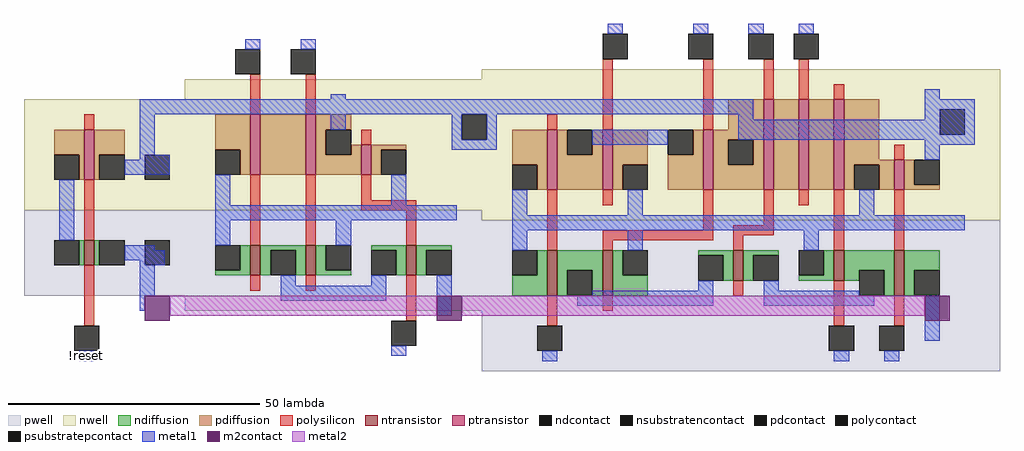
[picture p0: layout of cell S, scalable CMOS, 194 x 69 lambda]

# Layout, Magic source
magic
tech scmos
<< nwell >>
rect -10 48 -6 51
rect -10 40 -7 48
rect 52 41 61 50
rect 147 42 156 51
rect -10 36 -4 40
<< pwell >>
rect -8 13 -5 21
<< nsubstratencontact >>
rect 54 43 59 48
<< polysilicon >>
rect -21 6 -19 16
<< polycontact >>
rect -23 1 -18 6
<< metal1 >>
rect -10 48 112 51
rect -10 40 -7 48
rect 52 43 54 48
rect 59 43 61 48
rect 109 44 112 48
rect 52 41 61 43
rect 147 42 156 51
rect -10 36 -4 40
rect -10 21 -7 22
rect -10 18 -5 21
rect -10 12 -7 18
rect -10 9 -9 12
rect -22 -1 -19 1
<< m2contact >>
rect -9 7 -4 12
rect 49 7 54 12
rect 146 7 151 12
<< metal2 >>
rect -4 8 49 12
rect 54 8 146 12
use inv  inv_0
transform -1 0 -13 0 1 35
box -12 -23 20 16
use S1  S1_0
transform 1 0 5 0 1 16
box -6 -16 53 47
use S2  S2_0
transform 1 0 108 0 1 32
box -50 -35 53 34
<< labels >>
rlabel metal1 -22 -1 -19 1 5 !reset
<< end >>

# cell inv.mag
magic
tech scmos
<< nwell >>
rect -12 -6 20 16
<< pwell >>
rect -12 -23 20 -6
<< ntransistor >>
rect 6 -17 8 -12
<< ptransistor >>
rect 6 0 8 10
<< ndiffusion >>
rect 5 -17 6 -12
rect 8 -17 9 -12
<< pdiffusion >>
rect 0 5 6 10
rect 5 0 6 5
rect 8 5 14 10
rect 8 0 9 5
<< ndcontact >>
rect 0 -17 5 -12
rect 9 -17 14 -12
<< pdcontact >>
rect 0 0 5 5
rect 9 0 14 5
<< psubstratepcontact >>
rect -9 -17 -4 -12
<< nsubstratencontact >>
rect -9 0 -4 5
<< polysilicon >>
rect 6 10 8 13
rect 6 -12 8 0
rect 6 -20 8 -17
<< metal1 >>
rect -4 1 0 4
rect 10 -12 13 0
rect -4 -16 0 -13
<< labels >>
rlabel metal1 -3 2 -2 3 1 Vdd!
rlabel metal1 -3 -15 -2 -14 1 GND!
<< end >>

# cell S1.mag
magic
tech scmos
<< nwell >>
rect -6 13 53 39
<< pwell >>
rect -6 -7 53 13
<< ntransistor >>
rect 7 0 9 6
rect 18 0 20 6
rect 38 0 40 6
<< ptransistor >>
rect 7 20 9 32
rect 18 20 20 32
rect 29 20 31 26
<< ndiffusion >>
rect 5 1 7 6
rect 0 0 7 1
rect 9 5 18 6
rect 9 0 11 5
rect 16 0 18 5
rect 20 1 22 6
rect 20 0 27 1
rect 31 5 38 6
rect 36 0 38 5
rect 40 5 47 6
rect 40 0 42 5
<< pdiffusion >>
rect 0 25 7 32
rect 5 20 7 25
rect 9 20 18 32
rect 20 29 27 32
rect 20 24 22 29
rect 27 24 29 26
rect 20 20 29 24
rect 31 25 38 26
rect 31 20 33 25
<< ndcontact >>
rect 0 1 5 6
rect 11 0 16 5
rect 22 1 27 6
rect 31 0 36 5
rect 42 0 47 5
<< pdcontact >>
rect 0 20 5 25
rect 22 24 27 29
rect 33 20 38 25
<< polysilicon >>
rect 7 32 9 40
rect 18 32 20 40
rect 29 26 31 29
rect 7 6 9 20
rect 18 6 20 20
rect 29 15 31 20
rect 29 13 40 15
rect 38 6 40 13
rect 7 -3 9 0
rect 18 -3 20 0
rect 38 -9 40 0
<< polycontact >>
rect 4 40 9 45
rect 15 40 20 45
rect 35 -14 40 -9
<< metal1 >>
rect 6 45 9 47
rect 17 45 20 47
rect 23 29 26 36
rect 0 14 3 20
rect 35 14 38 20
rect 0 11 48 14
rect 0 6 3 11
rect 24 6 27 11
rect 13 -2 16 0
rect 31 -2 34 0
rect 13 -5 34 -2
rect 44 -8 47 0
rect 35 -16 38 -14
<< labels >>
rlabel metal1 23 34 26 36 1 Vdd!
rlabel metal1 44 -8 47 -6 5 GND!
rlabel metal1 6 45 9 47 1 S0
rlabel metal1 17 45 20 47 1 !S2
rlabel metal1 46 11 48 14 3 out
rlabel metal1 35 -16 38 -14 5 !reset
<< end >>

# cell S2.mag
magic
tech scmos
<< nwell >>
rect -50 -5 53 25
<< pwell >>
rect -50 -35 53 -5
<< ntransistor >>
rect -37 -20 -35 -11
rect -26 -20 -24 -11
rect 0 -17 2 -11
rect 20 -17 22 -11
rect 32 -20 34 -11
<< ptransistor >>
rect -37 1 -35 13
rect -26 1 -24 13
rect -6 1 -4 13
rect 6 1 8 19
rect 13 1 15 19
rect 20 1 22 19
rect 32 1 34 7
<< ndiffusion >>
rect -39 -16 -37 -11
rect -44 -20 -37 -16
rect -35 -15 -26 -11
rect -35 -20 -33 -15
rect -28 -20 -26 -15
rect -24 -16 -22 -11
rect -24 -20 -17 -16
rect -7 -12 0 -11
rect -2 -17 0 -12
rect 2 -12 9 -11
rect 2 -17 4 -12
rect 18 -16 20 -11
rect 13 -17 20 -16
rect 22 -15 32 -11
rect 22 -17 25 -15
rect 30 -20 32 -15
rect 34 -15 41 -11
rect 34 -20 36 -15
<< pdiffusion >>
rect -1 13 6 19
rect -44 6 -37 13
rect -39 1 -37 6
rect -35 8 -33 13
rect -28 8 -26 13
rect -35 1 -26 8
rect -24 6 -17 13
rect -24 1 -22 6
rect -8 8 -6 13
rect -13 1 -6 8
rect -4 11 6 13
rect -4 6 -1 11
rect 4 6 6 11
rect -4 1 6 6
rect 8 1 13 19
rect 15 1 20 19
rect 22 7 29 19
rect 22 6 32 7
rect 22 1 24 6
rect 29 1 32 6
rect 34 2 36 7
rect 34 1 41 2
<< ndcontact >>
rect -44 -16 -39 -11
rect -33 -20 -28 -15
rect -22 -16 -17 -11
rect -7 -17 -2 -12
rect 4 -17 9 -12
rect 13 -16 18 -11
rect 25 -20 30 -15
rect 36 -20 41 -15
<< pdcontact >>
rect -44 1 -39 6
rect -33 8 -28 13
rect -22 1 -17 6
rect -13 8 -8 13
rect -1 6 4 11
rect 24 1 29 6
rect 36 2 41 7
<< nsubstratencontact >>
rect 41 12 46 17
<< polysilicon >>
rect -37 13 -35 16
rect -26 13 -24 27
rect -6 13 -4 27
rect 6 19 8 27
rect 13 19 15 27
rect 20 19 22 22
rect 32 7 34 10
rect -37 -11 -35 1
rect -26 -2 -24 1
rect -6 -7 -4 1
rect 6 -6 8 1
rect 13 -2 15 1
rect -26 -9 -4 -7
rect 0 -8 8 -6
rect -26 -11 -24 -9
rect 0 -11 2 -8
rect 20 -11 22 1
rect 32 -11 34 1
rect 0 -20 2 -17
rect -37 -26 -35 -20
rect -26 -23 -24 -20
rect 20 -26 22 -17
rect 32 -26 34 -20
<< polycontact >>
rect -26 27 -21 32
rect -9 27 -4 32
rect 3 27 8 32
rect 12 27 17 32
rect -39 -31 -34 -26
rect 19 -31 24 -26
rect 29 -31 34 -26
<< metal1 >>
rect -25 32 -22 34
rect -8 32 -5 34
rect 3 32 6 34
rect 13 32 16 34
rect 38 15 41 21
rect -28 10 -13 13
rect 1 11 41 15
rect 38 7 41 11
rect -44 -4 -41 1
rect -21 -4 -18 1
rect 25 -4 28 1
rect -44 -7 46 -4
rect -44 -11 -41 -7
rect -21 -11 -18 -7
rect 14 -11 17 -7
rect -7 -19 -4 -17
rect -28 -20 -4 -19
rect -31 -22 -4 -20
rect 6 -19 9 -17
rect 6 -20 25 -19
rect 6 -22 28 -20
rect 38 -29 41 -20
rect -38 -33 -35 -31
rect 20 -33 23 -31
rect 30 -33 33 -31
<< labels >>
rlabel metal1 38 -29 41 -27 5 GND!
rlabel metal1 38 19 41 21 1 Vdd!
flabel metal1 44 -7 46 -4 0 FreeSans 8 0 0 0 out
rlabel metal1 3 32 6 34 1 S0
rlabel metal1 30 -33 33 -31 5 !reset
rlabel metal1 -38 -33 -35 -31 5 !in
rlabel metal1 20 -33 23 -31 5 !in
rlabel metal1 13 32 16 34 1 !S2
rlabel metal1 -25 32 -22 34 1 !S2
rlabel metal1 -8 32 -5 34 1 S1
<< end >>
